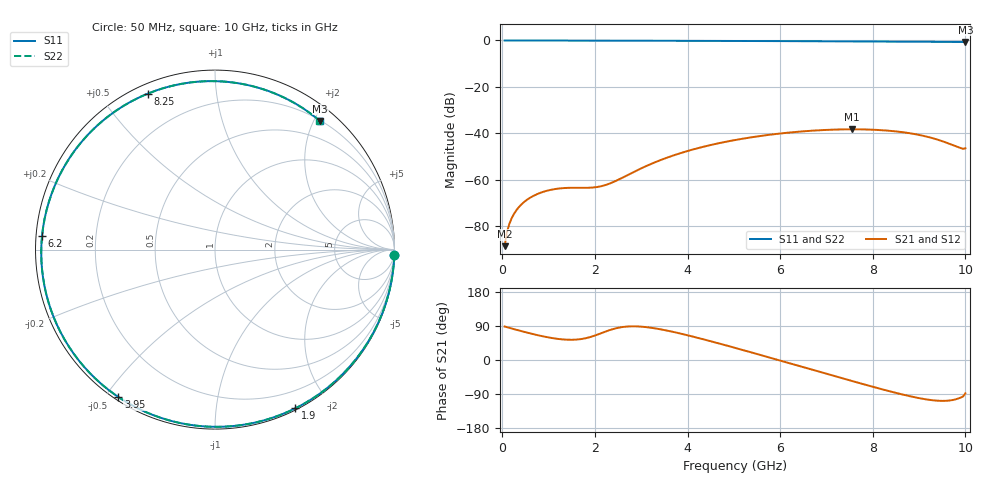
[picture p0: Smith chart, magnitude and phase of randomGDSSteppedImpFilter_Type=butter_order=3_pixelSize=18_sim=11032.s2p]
! freq	dB(S11)	phase(S11)	dB(S12)	phase(S12)
!  dB(S21)	phase(S21)	dB(S22)	phase(S22)
!S-par simulation data
#  GHz  S  DB  R 50
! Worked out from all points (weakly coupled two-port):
!   200 points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, 50 MHz to 10 GHz, reference 50 ohm
!   highest |S21| = -38.33 dB at 7.55 GHz (marker M1); lowest = -88.8 dB at 50 MHz (marker M2)
!   lowest |S11| = -0.7 dB at 10 GHz (marker M3), VSWR 25.63, Z = 10.6 + j105 ohm
!   |S11| at or under -10 dB: nowhere
!   |S22| runs from -0.7 to 0.0 dB; largest |S21 - S12| = 0
!   S11 on the Smith chart (normalised r, x): 50 MHz: 1, -66; 1.9 GHz: 0.02, -1.63; 3.95 GHz: 0.01, -0.54; 6.2 GHz: 0.02, +0.04; 8.25 GHz: 0.04, +0.66; 10 GHz: 0.21, +2.09
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0.05  -0.00 -1.7  -88.76 88.3  -88.76 88.3  -0.00 -1.7
0.15  -0.01 -5.2  -79.29 85.0  -79.29 85.0  -0.01 -5.2
0.25  -0.01 -8.6  -74.91 81.5  -74.91 81.5  -0.01 -8.6
0.4  -0.02 -13.7  -71.01 76.6  -71.01 76.6  -0.02 -13.7
0.7  -0.03 -23.9  -66.77 67.3  -66.77 67.3  -0.03 -23.9
1.15  -0.05 -38.9  -64.08 56.5  -64.08 56.5  -0.05 -38.9
1.75  -0.07 -58.4  -63.59 56.2  -63.59 56.2  -0.07 -58.4
1.9  -0.08 -63.1  -63.53 60.6  -63.53 60.6  -0.08 -63.1
2.3  -0.09 -75.5  -61.89 78.1  -61.89 78.1  -0.09 -75.5
2.85  -0.11 -92.0  -56.63 88.9  -56.63 88.9  -0.11 -92.0
3.4  -0.13 -107.9  -51.75 81.4  -51.75 81.4  -0.13 -107.9
3.95  -0.16 -123.3  -48.00 66.8  -48.00 66.8  -0.16 -123.3
5.05  -0.22 -153.2  -42.88 31.2  -42.88 31.2  -0.22 -153.1
5.65  -0.25 -169.4  -41.00 10.7  -41.00 10.7  -0.25 -169.4
6.2  -0.29 175.4  -39.73 -8.4  -39.73 -8.4  -0.29 175.5
6.7  -0.34 161.3  -38.92 -25.8  -38.92 -25.8  -0.34 161.4
7.55  -0.41 135.9  -38.33 -55.4  -38.33 -55.4  -0.41 136.0
8.25  -0.48 113.4  -38.79 -78.9  -38.79 -78.9  -0.48 113.5
8.35  -0.49 110.0  -38.95 -82.1  -38.95 -82.1  -0.49 110.2
8.8  -0.54 94.6  -40.03 -95.5  -40.03 -95.5  -0.54 94.8
9.2  -0.58 80.3  -41.67 -104.8  -41.67 -104.8  -0.58 80.5
10  -0.68 50.7  -46.52 -87.7  -46.52 -87.7  -0.68 51.0
